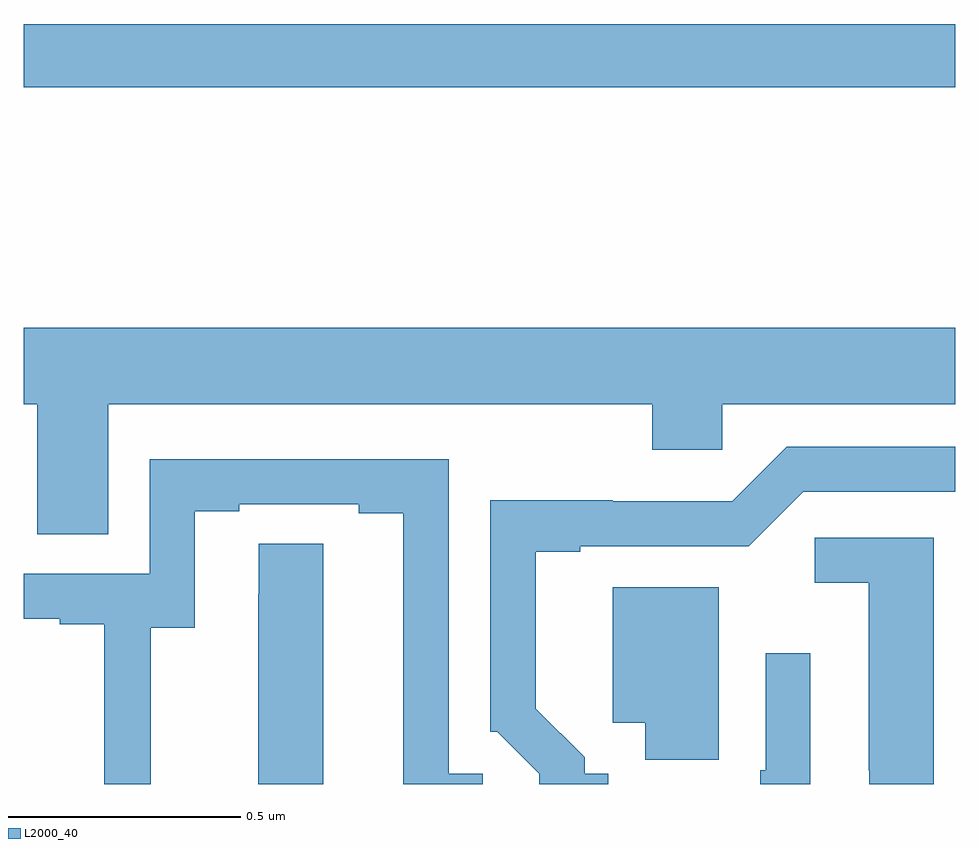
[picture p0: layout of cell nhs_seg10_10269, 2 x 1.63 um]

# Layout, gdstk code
import gdstk
lib = gdstk.Library(unit=1e-6, precision=1e-09)
def R(c, l, rs):  # rectangles x0, y0, x1, y1
    for r in rs: c.add(gdstk.rectangle(r[:2], r[2:], *l))
def P(c, l, *ps):  # polygons
    for p in ps: c.add(gdstk.Polygon(p, *l))
L2000_40 = (2000, 40)

nhs_seg10_10269 = lib.new_cell('nhs_seg10_10269')
R(nhs_seg10_10269, L2000_40, [(240,1300.996,242,1301.132)])
P(nhs_seg10_10269, L2000_40, [(240.181,1300.316),(241.349,1300.316),(241.349,1300.218),(241.5,1300.218),(241.5,1300.316),(242,1300.316),(242,1300.48),(240,1300.48),(240,1300.316),(240.029,1300.316),(240.029,1300.036),(240.181,1300.036)],
  [(241.255,1299.522),(241.204,1299.522),(241.204,1299.557),(241.099,1299.662),(241.099,1299.999),(241.195,1299.999),(241.195,1300.011),(241.557,1300.011),(241.674,1300.128),(242,1300.128),(242,1300.224),(241.638,1300.224),(241.521,1300.107),(241.265,1300.107),(241.265,1300.109),(241.002,1300.109),(241.002,1299.612),(241.017,1299.612),(241.107,1299.522),(241.107,1299.5),(241.255,1299.5)],
  [(240.273,1299.835),(240.367,1299.835),(240.367,1300.086),(240.463,1300.086),(240.463,1300.101),(240.719,1300.101),(240.719,1300.081),(240.815,1300.081),(240.815,1299.5),(240.985,1299.5),(240.985,1299.522),(240.912,1299.522),(240.912,1300.197),(240.27,1300.197),(240.27,1299.951),(240,1299.951),(240,1299.855),(240.077,1299.855),(240.077,1299.843),(240.173,1299.843),(240.173,1299.5),(240.273,1299.5)],
  [(241.954,1300.029),(241.698,1300.029),(241.698,1299.932),(241.814,1299.932),(241.814,1299.529),(241.815,1299.529),(241.815,1299.5),(241.954,1299.5)],
  [(240.643,1300.016),(240.504,1300.016),(240.504,1299.908),(240.503,1299.908),(240.503,1299.5),(240.643,1299.5)],
  [(241.492,1299.922),(241.265,1299.922),(241.265,1299.632),(241.334,1299.632),(241.334,1299.552),(241.492,1299.552)],
  [(241.689,1299.781),(241.593,1299.781),(241.593,1299.529),(241.581,1299.529),(241.581,1299.5),(241.689,1299.5)])

lib.write_gds('nhs_seg10_10269.gds')
